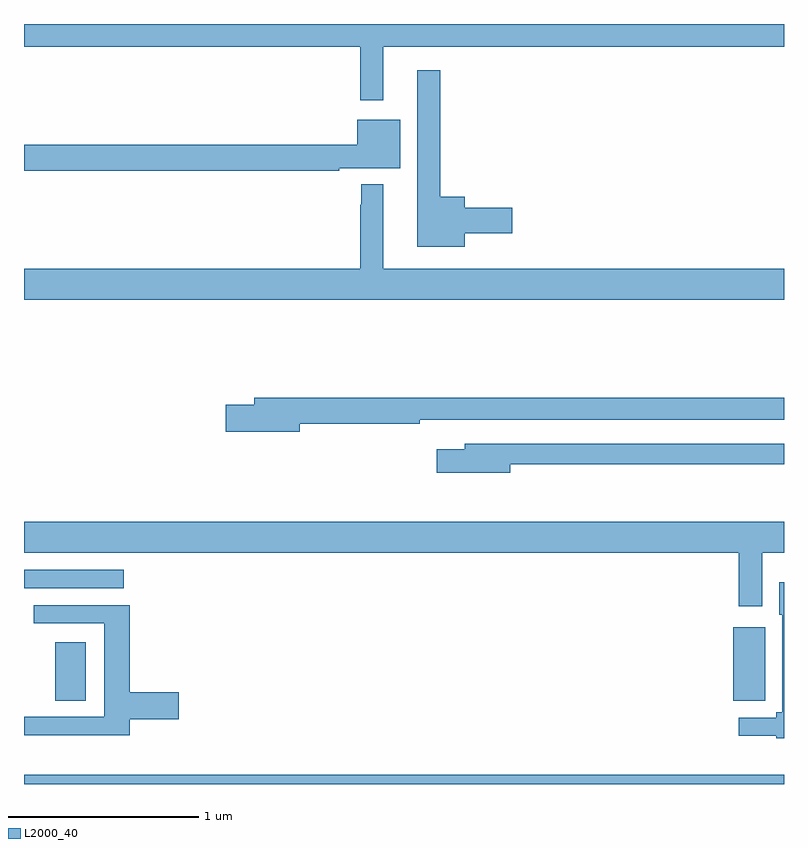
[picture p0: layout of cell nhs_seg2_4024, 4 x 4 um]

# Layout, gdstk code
import gdstk
lib = gdstk.Library(unit=1e-6, precision=1e-09)
def R(c, l, rs):  # rectangles x0, y0, x1, y1
    for r in rs: c.add(gdstk.rectangle(r[:2], r[2:], *l))
def P(c, l, *ps):  # polygons
    for p in ps: c.add(gdstk.Polygon(p, *l))
L2000_40 = (2000, 40)

nhs_seg2_4024 = lib.new_cell('nhs_seg2_4024')
R(nhs_seg2_4024, L2000_40, [(327,599.8,331,599.848), (327.164,600.238,327.325,600.547), (330.734,600.239,330.901,600.625), (327,600.831,327.526,600.927)])
P(nhs_seg2_4024, L2000_40, [(328.891,603.68),(331,603.68),(331,603.8),(327,603.8),(327,603.68),(328.77,603.68),(328.77,603.399),(328.891,603.399)],
  [(329.32,602.699),(329.569,602.699),(329.569,602.834),(329.32,602.834),(329.32,602.89),(329.191,602.89),(329.191,603.556),(329.069,603.556),(329.069,602.627),(329.32,602.627)],
  [(328.658,603.041),(328.981,603.041),(328.981,603.295),(328.754,603.295),(328.754,603.164),(327,603.164),(327,603.028),(328.658,603.028)],
  [(331,602.512),(328.891,602.512),(328.891,602.956),(328.776,602.956),(328.776,602.849),(328.77,602.849),(328.77,602.512),(327,602.512),(327,602.348),(331,602.348)],
  [(328.45,601.696),(329.084,601.696),(329.084,601.716),(331,601.716),(331,601.832),(328.211,601.832),(328.211,601.796),(328.062,601.796),(328.062,601.654),(328.45,601.654)],
  [(329.56,601.482),(331,601.482),(331,601.59),(329.321,601.59),(329.321,601.561),(329.172,601.561),(329.172,601.439),(329.56,601.439)],
  [(330.886,601.016),(331,601.016),(331,601.18),(327,601.18),(327,601.016),(330.761,601.016),(330.761,600.735),(330.886,600.735)],
  [(331,600.862),(330.974,600.862),(330.974,600.69),(330.99,600.69),(330.99,600.178),(330.96,600.178),(330.96,600.15),(330.762,600.15),(330.762,600.053),(330.96,600.053),(330.96,600.041),(331,600.041)],
  [(327.557,600.142),(327.814,600.142),(327.814,600.284),(327.557,600.284),(327.557,600.741),(327.051,600.741),(327.051,600.645),(327.422,600.645),(327.422,600.153),(327,600.153),(327,600.056),(327.557,600.056)])

lib.write_gds('nhs_seg2_4024.gds')
